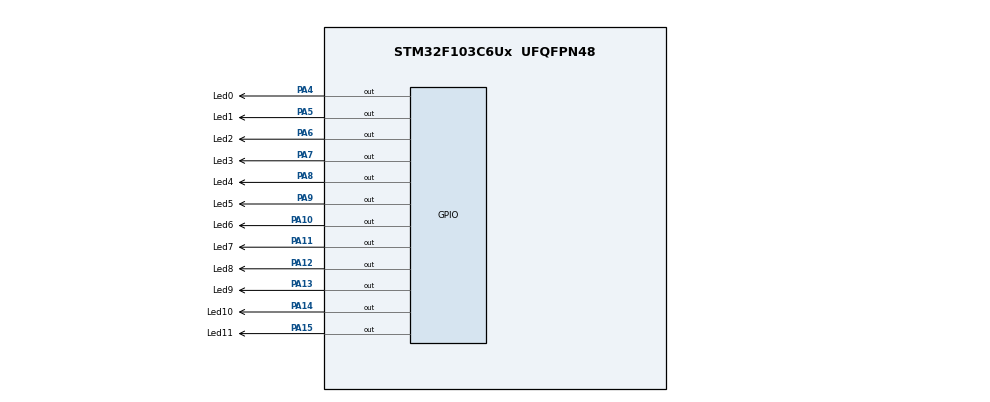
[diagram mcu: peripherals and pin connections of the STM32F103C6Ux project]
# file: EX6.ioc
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Mcu.Family=STM32F1
Mcu.Name=STM32F103C6Ux
Mcu.Package=UFQFPN48
NVIC.PriorityGroup=NVIC_PRIORITYGROUP_4
PA10.GPIO_Label=Led6
PA10.Signal=GPIO_Output
PA11.GPIO_Label=Led7
PA11.Signal=GPIO_Output
PA12.GPIO_Label=Led8
PA12.Signal=GPIO_Output
PA13.GPIO_Label=Led9
PA13.Signal=GPIO_Output
PA14.GPIO_Label=Led10
PA14.Signal=GPIO_Output
PA15.GPIO_Label=Led11
PA15.Signal=GPIO_Output
PA4.GPIO_Label=Led0
PA4.Signal=GPIO_Output
PA5.GPIO_Label=Led1
PA5.Signal=GPIO_Output
PA6.GPIO_Label=Led2
PA6.Signal=GPIO_Output
PA7.GPIO_Label=Led3
PA7.Signal=GPIO_Output
PA8.GPIO_Label=Led4
PA8.Signal=GPIO_Output
PA9.GPIO_Label=Led5
PA9.Signal=GPIO_Output
ProjectManager.HeapSize=0x200
ProjectManager.StackSize=0x400
ProjectManager.TargetToolchain=STM32CubeIDE
RCC.APB1Freq_Value=8000000
RCC.APB2Freq_Value=8000000
VP_SYS_VS_ND.Mode=No_Debug
board=custom

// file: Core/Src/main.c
/* USER CODE BEGIN Header */
/**
  ******************************************************************************
  * @file           : main.c
  * @brief          : Main program body
  ******************************************************************************
  * @attention
  *
  * <h2><center>&copy; Copyright (c) 2022 STMicroelectronics.
  * All rights reserved.</center></h2>
  *
  * This software component is licensed by ST under BSD 3-Clause license,
  * the "License"; You may not use this file except in compliance with the
  * License. You may obtain a copy of the License at:
  *                        opensource.org/licenses/BSD-3-Clause
  *
  ******************************************************************************
  */
/* USER CODE END Header */
#include "main.h"

void SystemClock_Config(void);
static void MX_GPIO_Init(void);

void clearAllClock() {
	/* SET la trang thai tat */
	HAL_GPIO_WritePin(Led0_GPIO_Port, Led0_Pin, SET);
	HAL_GPIO_WritePin(Led1_GPIO_Port, Led1_Pin, SET);
	HAL_GPIO_WritePin(Led2_GPIO_Port, Led2_Pin, SET);
	HAL_GPIO_WritePin(Led3_GPIO_Port, Led3_Pin, SET);
	HAL_GPIO_WritePin(Led4_GPIO_Port, Led4_Pin, SET);
	HAL_GPIO_WritePin(Led5_GPIO_Port, Led5_Pin, SET);
	HAL_GPIO_WritePin(Led6_GPIO_Port, Led6_Pin, SET);
	HAL_GPIO_WritePin(Led7_GPIO_Port, Led7_Pin, SET);
	HAL_GPIO_WritePin(Led8_GPIO_Port, Led8_Pin, SET);
	HAL_GPIO_WritePin(Led9_GPIO_Port, Led9_Pin, SET);
	HAL_GPIO_WritePin(Led10_GPIO_Port, Led10_Pin, SET);
	HAL_GPIO_WritePin(Led11_GPIO_Port, Led11_Pin, SET);
}
void setNumberOnClock(int num) {
	/* RESET la trang thai bat */
	if (num==0) HAL_GPIO_WritePin(Led0_GPIO_Port, Led0_Pin, RESET);
	if (num==1) HAL_GPIO_WritePin(Led1_GPIO_Port, Led1_Pin, RESET);
	if (num==2) HAL_GPIO_WritePin(Led2_GPIO_Port, Led2_Pin, RESET);
	if (num==3) HAL_GPIO_WritePin(Led3_GPIO_Port, Led3_Pin, RESET);
	if (num==4) HAL_GPIO_WritePin(Led4_GPIO_Port, Led4_Pin, RESET);
	if (num==5) HAL_GPIO_WritePin(Led5_GPIO_Port, Led5_Pin, RESET);
	if (num==6) HAL_GPIO_WritePin(Led6_GPIO_Port, Led6_Pin, RESET);
	if (num==7) HAL_GPIO_WritePin(Led7_GPIO_Port, Led7_Pin, RESET);
	if (num==8) HAL_GPIO_WritePin(Led8_GPIO_Port, Led8_Pin, RESET);
	if (num==9) HAL_GPIO_WritePin(Led9_GPIO_Port, Led9_Pin, RESET);
	if (num==10) HAL_GPIO_WritePin(Led10_GPIO_Port, Led10_Pin, RESET);
	if (num==11) HAL_GPIO_WritePin(Led11_GPIO_Port, Led11_Pin, RESET);
}
void clearNumberOnClock(int num) {
	/* SET la trang thai tat */
	if (num==0) HAL_GPIO_WritePin(Led0_GPIO_Port, Led0_Pin, SET);
	if (num==1) HAL_GPIO_WritePin(Led1_GPIO_Port, Led1_Pin, SET);
	if (num==2) HAL_GPIO_WritePin(Led2_GPIO_Port, Led2_Pin, SET);
	if (num==3) HAL_GPIO_WritePin(Led3_GPIO_Port, Led3_Pin, SET);
	if (num==4) HAL_GPIO_WritePin(Led4_GPIO_Port, Led4_Pin, SET);
	if (num==5) HAL_GPIO_WritePin(Led5_GPIO_Port, Led5_Pin, SET);
	if (num==6) HAL_GPIO_WritePin(Led6_GPIO_Port, Led6_Pin, SET);
	if (num==7) HAL_GPIO_WritePin(Led7_GPIO_Port, Led7_Pin, SET);
	if (num==8) HAL_GPIO_WritePin(Led8_GPIO_Port, Led8_Pin, SET);
	if (num==9) HAL_GPIO_WritePin(Led9_GPIO_Port, Led9_Pin, SET);
	if (num==10) HAL_GPIO_WritePin(Led10_GPIO_Port, Led10_Pin, SET);
	if (num==11) HAL_GPIO_WritePin(Led11_GPIO_Port, Led11_Pin, SET);
}
int main(void)
{

  /* MCU Configuration--------------------------------------------------------*/

  /* Reset of all peripherals, Initializes the Flash interface and the Systick. */
  HAL_Init();

  /* Configure the system clock */
  SystemClock_Config();

  /* Initialize all configured peripherals */
  MX_GPIO_Init();

  /* Infinite loop */
  /* USER CODE BEGIN WHILE */
  int hours=0;
  int mins=0;
  int secs=0;
  int sec_counter=0;
  int min_counter=0;
  while (1)
  {
	  clearAllClock();
	  setNumberOnClock(secs);
	  setNumberOnClock(mins);
	  setNumberOnClock(hours);
	  sec_counter++;
	  /* sau 5 giay led giay tiep theo moi sang */
	  if (sec_counter==5) {sec_counter=0; secs++;}
	  if (secs>11) {secs=0; min_counter++;}
	  /* sau 5 phut led phut tiep theo moi sang */
	  if (min_counter==5) {min_counter=0; mins++;}
	  if (mins>11) {mins=0; hours++;}
	  HAL_Delay(1000);
    /* USER CODE END WHILE */

  }
}

void SystemClock_Config(void)
{
  RCC_OscInitTypeDef RCC_OscInitStruct = {0};
  RCC_ClkInitTypeDef RCC_ClkInitStruct = {0};

  /** Initializes the RCC Oscillators according to the specified parameters
  * in the RCC_OscInitTypeDef structure.
  */
  RCC_OscInitStruct.OscillatorType = RCC_OSCILLATORTYPE_HSI;
  RCC_OscInitStruct.HSIState = RCC_HSI_ON;
  RCC_OscInitStruct.HSICalibrationValue = RCC_HSICALIBRATION_DEFAULT;
  RCC_OscInitStruct.PLL.PLLState = RCC_PLL_NONE;
  if (HAL_RCC_OscConfig(&RCC_OscInitStruct) != HAL_OK)
  {
    Error_Handler();
  }
  /** Initializes the CPU, AHB and APB buses clocks
  */
  RCC_ClkInitStruct.ClockType = RCC_CLOCKTYPE_HCLK|RCC_CLOCKTYPE_SYSCLK
                              |RCC_CLOCKTYPE_PCLK1|RCC_CLOCKTYPE_PCLK2;
  RCC_ClkInitStruct.SYSCLKSource = RCC_SYSCLKSOURCE_HSI;
  RCC_ClkInitStruct.AHBCLKDivider = RCC_SYSCLK_DIV1;
  RCC_ClkInitStruct.APB1CLKDivider = RCC_HCLK_DIV1;
  RCC_ClkInitStruct.APB2CLKDivider = RCC_HCLK_DIV1;

  if (HAL_RCC_ClockConfig(&RCC_ClkInitStruct, FLASH_LATENCY_0) != HAL_OK)
  {
    Error_Handler();
  }
}

static void MX_GPIO_Init(void)
{
  GPIO_InitTypeDef GPIO_InitStruct = {0};

  /* GPIO Ports Clock Enable */
  __HAL_RCC_GPIOA_CLK_ENABLE();

  /*Configure GPIO pin Output Level */
  HAL_GPIO_WritePin(GPIOA, Led0_Pin|Led1_Pin|Led2_Pin|Led3_Pin
                          |Led4_Pin|Led5_Pin|Led6_Pin|Led7_Pin
                          |Led8_Pin|Led9_Pin|Led10_Pin|Led11_Pin, GPIO_PIN_RESET);

  /*Configure GPIO pins : Led0_Pin Led1_Pin Led2_Pin Led3_Pin
                           Led4_Pin Led5_Pin Led6_Pin Led7_Pin
                           Led8_Pin Led9_Pin Led10_Pin Led11_Pin */
  GPIO_InitStruct.Pin = Led0_Pin|Led1_Pin|Led2_Pin|Led3_Pin
                          |Led4_Pin|Led5_Pin|Led6_Pin|Led7_Pin
                          |Led8_Pin|Led9_Pin|Led10_Pin|Led11_Pin;
  GPIO_InitStruct.Mode = GPIO_MODE_OUTPUT_PP;
  GPIO_InitStruct.Pull = GPIO_NOPULL;
  GPIO_InitStruct.Speed = GPIO_SPEED_FREQ_LOW;
  HAL_GPIO_Init(GPIOA, &GPIO_InitStruct);

}

void Error_Handler(void)
{
  __disable_irq();
  while (1)
  {
  }
}

/************************ (C) COPYRIGHT STMicroelectronics *****END OF FILE****/
